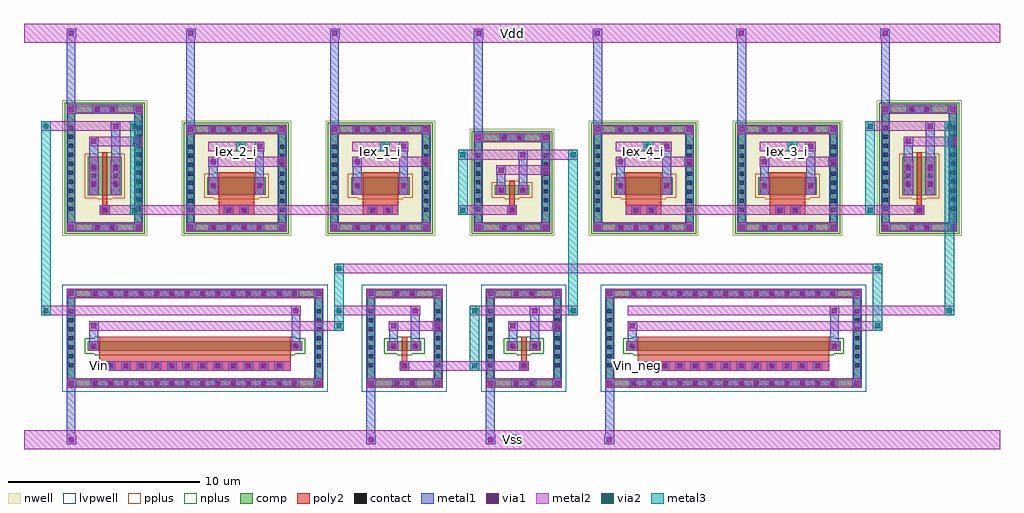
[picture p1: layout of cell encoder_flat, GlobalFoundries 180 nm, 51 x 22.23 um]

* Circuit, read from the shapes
.subckt encoder_flat Iex_1_i Iex_2_i Iex_3_i Iex_4_i Vdd Vin Vin_neg Vss
XM1 n1 Vin n2 Vss nfet_03v3 w=0.5u l=10u
XM2 n2 n3 Vss Vss nfet_03v3 w=0.5u l=0.28u
XM3 n3 n3 Vss Vss nfet_03v3 w=0.5u l=0.28u
XM4 n4 Vin_neg n2 Vss nfet_03v3 w=0.5u l=10u
XM5 n1 n1 Vdd Vdd pfet_03v3 w=2u l=0.28u
XM6 Iex_2_i n1 Vdd Vdd pfet_03v3 w=0.93u l=1.86u
XM7 Iex_1_i n1 Vdd Vdd pfet_03v3 w=0.93u l=1.86u
XM8 n3 n3 Vdd Vdd pfet_03v3 w=0.5u l=0.28u
XM9 Iex_4_i n4 Vdd Vdd pfet_03v3 w=0.93u l=1.86u
XM10 Iex_3_i n4 Vdd Vdd pfet_03v3 w=0.93u l=1.86u
XM11 n4 n4 Vdd Vdd pfet_03v3 w=2u l=0.28u
.ends

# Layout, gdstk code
import gdstk
lib = gdstk.Library(unit=1e-6, precision=1e-09)
def R(c, l, rs):  # rectangles x0, y0, x1, y1
    for r in rs: c.add(gdstk.rectangle(r[:2], r[2:], *l))
def A(c, l, x, y, w, h, nx, ny, dx, dy):  # array of equal rectangles
    R(c, l, [(x+i*dx, y+j*dy, x+i*dx+w, y+j*dy+h) for i in range(nx) for j in range(ny)])
nwell = (21, 0)
comp = (22, 0)
poly2 = (30, 0)
pplus = (31, 0)
nplus = (32, 0)
contact = (33, 0)
metal1 = (34, 0)
via1 = (35, 0)
metal2 = (36, 0)
via2 = (38, 0)
metal3 = (42, 0)
lvpwell = (204, 0)

encoder_flat = lib.new_cell('encoder_flat')
R(encoder_flat, nwell, [(0,18.345,4.44,25.435), (6.24,18.345,11.96,24.375), (13.76,18.345,19.48,24.375), (21.28,18.345,25.72,23.945), (27.52,18.345,33.24,24.375), (35.04,18.345,40.76,24.375), (42.56,18.345,47,25.435)])
A(encoder_flat, comp, 0.28, 18.625, 3.88, 0.36, 3, 1, 21.28, 0)
R(encoder_flat, comp, [(0.28,10.48,13.58,10.84), (15.94,10.48,19.82,10.84), (22.18,10.48,26.06,10.84), (28.42,10.48,41.72,10.84), (0.28,10.84,0.64,15.16), (13.22,10.84,13.58,15.16), (15.94,10.84,16.3,15.16), (19.46,10.84,19.82,15.16), (22.18,10.84,22.54,15.16), (25.7,10.84,26.06,15.16), (28.42,10.84,28.78,15.16), (41.36,10.84,41.72,15.16), (1.33,12.345,12.53,12.845), (16.99,12.345,18.77,12.845), (23.23,12.345,25.01,12.845), (29.47,12.345,40.67,12.845), (0.28,15.16,13.58,15.52), (15.94,15.16,19.82,15.52), (22.18,15.16,26.06,15.52), (28.42,15.16,41.72,15.52), (6.52,18.625,11.68,18.985), (14.04,18.625,19.2,18.985), (27.8,18.625,32.96,18.985), (35.32,18.625,40.48,18.985), (0.28,18.985,0.64,24.795), (3.8,18.985,4.16,24.795), (6.52,18.985,6.88,23.735), (11.32,18.985,11.68,23.735), (14.04,18.985,14.4,23.735), (18.84,18.985,19.2,23.735), (21.56,18.985,21.92,23.305), (25.08,18.985,25.44,23.305), (27.8,18.985,28.16,23.735), (32.6,18.985,32.96,23.735), (35.32,18.985,35.68,23.735), (40.12,18.985,40.48,23.735), (42.84,18.985,43.2,24.795), (46.36,18.985,46.72,24.795), (1.33,20.485,3.11,22.485), (43.89,20.485,45.67,22.485), (22.61,20.49,24.39,20.99), (7.57,20.495,10.63,21.425), (15.09,20.495,18.15,21.425), (28.85,20.495,31.91,21.425), (36.37,20.495,39.43,21.425), (21.56,23.305,25.44,23.665), (6.52,23.735,11.68,24.095), (14.04,23.735,19.2,24.095), (27.8,23.735,32.96,24.095), (35.32,23.735,40.48,24.095), (0.28,24.795,4.16,25.155), (42.84,24.795,46.72,25.155)])
R(encoder_flat, poly2, [(1.93,11.305,11.93,13.085), (17.63,11.305,18.13,11.805), (23.87,11.305,24.37,11.805), (30.07,11.305,40.07,13.085), (17.74,11.805,18.02,13.085), (23.98,11.805,24.26,13.085), (1.97,19.445,2.47,19.945), (44.53,19.445,45.03,19.945), (8.17,19.45,10.03,21.67), (15.69,19.45,17.55,21.67), (23.25,19.45,23.75,19.95), (29.45,19.45,31.31,21.67), (36.97,19.45,38.83,21.67), (2.08,19.945,2.36,22.725), (44.64,19.945,44.92,22.725), (23.36,19.95,23.64,21.23)])
R(encoder_flat, pplus, [(1.52,10.45,12.34,10.46), (17.27,10.45,18.49,10.46), (23.51,10.45,24.73,10.46), (29.66,10.45,40.48,10.46), (0.26,10.46,13.6,10.86), (15.92,10.46,19.84,10.86), (22.16,10.46,26.08,10.86), (28.4,10.46,41.74,10.86), (0.26,10.86,0.66,11.29), (1.52,10.86,12.34,10.87), (13.2,10.86,13.6,11.29), (15.92,10.86,16.32,11.29), (17.27,10.86,18.49,10.87), (19.44,10.86,19.84,11.29), (22.16,10.86,22.56,11.29), (23.51,10.86,24.73,10.87), (25.68,10.86,26.08,11.29), (28.4,10.86,28.8,11.29), (29.66,10.86,40.48,10.87), (41.34,10.86,41.74,11.29), (0.25,11.29,0.67,14.71), (13.19,11.29,13.61,14.71), (15.91,11.29,16.33,14.71), (19.43,11.29,19.85,14.71), (22.15,11.29,22.57,14.71), (25.67,11.29,26.09,14.71), (28.39,11.29,28.81,14.71), (41.33,11.29,41.75,14.71), (0.26,14.71,0.66,15.14), (13.2,14.71,13.6,15.14), (15.92,14.71,16.32,15.14), (19.44,14.71,19.84,15.14), (22.16,14.71,22.56,15.14), (25.68,14.71,26.08,15.14), (28.4,14.71,28.8,15.14), (41.34,14.71,41.74,15.14), (1.52,15.13,12.34,15.14), (17.27,15.13,18.49,15.14), (23.51,15.13,24.73,15.14), (29.66,15.13,40.48,15.14), (0.26,15.14,13.6,15.54), (15.92,15.14,19.84,15.54), (22.16,15.14,26.08,15.54), (28.4,15.14,41.74,15.54), (1.52,15.54,12.34,15.55), (17.27,15.54,18.49,15.55), (23.51,15.54,24.73,15.55), (29.66,15.54,40.48,15.55), (1.85,20.255,2.59,20.325), (44.41,20.255,45.15,20.325), (23.13,20.26,23.87,20.33), (7.94,20.265,10.26,20.335), (15.46,20.265,17.78,20.335), (29.22,20.265,31.54,20.335), (36.74,20.265,39.06,20.335), (1.17,20.325,3.27,22.645), (43.73,20.325,45.83,22.645), (22.45,20.33,24.55,21.15), (7.41,20.335,10.79,21.585), (14.93,20.335,18.31,21.585), (28.69,20.335,32.07,21.585), (36.21,20.335,39.59,21.585), (23.13,21.15,23.87,21.22), (7.94,21.585,10.26,21.655), (15.46,21.585,17.78,21.655), (29.22,21.585,31.54,21.655), (36.74,21.585,39.06,21.655), (1.85,22.645,2.59,22.715), (44.41,22.645,45.15,22.715)])
A(encoder_flat, nplus, 0.12, 18.465, 4.2, 0.54, 3, 1, 21.28, 0)
A(encoder_flat, nplus, 1.61, 19.005, 1.22, 0.01, 3, 1, 21.28, 0)
R(encoder_flat, nplus, [(1.7,12.115,12.16,12.185), (17.51,12.115,18.25,12.185), (23.75,12.115,24.49,12.185), (29.84,12.115,40.3,12.185), (1.17,12.185,12.69,13.005), (16.83,12.185,18.93,13.005), (23.07,12.185,25.17,13.005), (29.31,12.185,40.83,13.005), (1.7,13.005,12.16,13.075), (17.51,13.005,18.25,13.075), (23.75,13.005,24.49,13.075), (29.84,13.005,40.3,13.075), (6.36,18.465,11.84,19.005), (13.88,18.465,19.36,19.005), (27.64,18.465,33.12,19.005), (35.16,18.465,40.64,19.005), (0.12,19.005,0.66,19.43), (3.78,19.005,4.32,19.43), (6.36,19.005,6.91,23.715), (7.69,19.005,10.51,19.015), (11.29,19.005,11.84,23.715), (13.88,19.005,14.43,23.715), (15.21,19.005,18.03,19.015), (18.81,19.005,19.36,23.715), (21.4,19.005,21.94,19.435), (25.06,19.005,25.6,19.435), (27.64,19.005,28.19,23.715), (28.97,19.005,31.79,19.015), (32.57,19.005,33.12,23.715), (35.16,19.005,35.71,23.715), (36.49,19.005,39.31,19.015), (40.09,19.005,40.64,23.715), (42.68,19.005,43.22,19.43), (46.34,19.005,46.88,19.43), (0.12,19.43,0.67,24.35), (3.77,19.43,4.32,24.35), (42.68,19.43,43.23,24.35), (46.33,19.43,46.88,24.35), (21.4,19.435,21.95,22.855), (25.05,19.435,25.6,22.855), (21.4,22.855,21.94,23.285), (25.06,22.855,25.6,23.285), (22.89,23.275,24.11,23.285), (21.4,23.285,25.6,23.825), (7.69,23.705,10.51,23.715), (15.21,23.705,18.03,23.715), (28.97,23.705,31.79,23.715), (36.49,23.705,39.31,23.715), (6.36,23.715,11.84,24.255), (13.88,23.715,19.36,24.255), (27.64,23.715,33.12,24.255), (35.16,23.715,40.64,24.255), (0.12,24.35,0.66,24.775), (3.78,24.35,4.32,24.775), (42.68,24.35,43.22,24.775), (46.34,24.35,46.88,24.775), (1.61,24.765,2.83,24.775), (44.17,24.765,45.39,24.775), (0.12,24.775,4.32,25.315), (42.68,24.775,46.88,25.315)])
A(encoder_flat, contact, 1.62, 10.55, 0.22, 0.22, 14, 2, 0.8, 4.68)
A(encoder_flat, contact, 29.76, 10.55, 0.22, 0.22, 14, 2, 0.8, 4.68)
A(encoder_flat, contact, 2.42, 11.445, 0.22, 0.22, 12, 1, 0.8, 0)
A(encoder_flat, contact, 30.56, 11.445, 0.22, 0.22, 12, 1, 0.8, 0)
A(encoder_flat, contact, 0.35, 11.48, 0.22, 0.22, 1, 7, 0, 0.47)
A(encoder_flat, contact, 13.29, 11.48, 0.22, 0.22, 1, 7, 0, 0.47)
A(encoder_flat, contact, 16.01, 11.48, 0.22, 0.22, 1, 7, 0, 0.47)
A(encoder_flat, contact, 19.53, 11.48, 0.22, 0.22, 1, 7, 0, 0.47)
A(encoder_flat, contact, 22.25, 11.48, 0.22, 0.22, 1, 7, 0, 0.47)
A(encoder_flat, contact, 25.77, 11.48, 0.22, 0.22, 1, 7, 0, 0.47)
A(encoder_flat, contact, 28.49, 11.48, 0.22, 0.22, 1, 7, 0, 0.47)
A(encoder_flat, contact, 41.43, 11.48, 0.22, 0.22, 1, 7, 0, 0.47)
A(encoder_flat, contact, 7.79, 18.695, 0.22, 0.22, 4, 2, 0.8, 5.11)
A(encoder_flat, contact, 15.31, 18.695, 0.22, 0.22, 4, 2, 0.8, 5.11)
A(encoder_flat, contact, 29.07, 18.695, 0.22, 0.22, 4, 2, 0.8, 5.11)
A(encoder_flat, contact, 36.59, 18.695, 0.22, 0.22, 4, 2, 0.8, 5.11)
A(encoder_flat, contact, 16.91, 19.59, 0.22, 0.22, 3, 1, 6.48, 0)
A(encoder_flat, contact, 6.59, 19.605, 0.22, 0.22, 1, 8, 0, 0.47)
A(encoder_flat, contact, 11.39, 19.605, 0.22, 0.22, 1, 8, 0, 0.47)
A(encoder_flat, contact, 14.11, 19.605, 0.22, 0.22, 1, 8, 0, 0.47)
A(encoder_flat, contact, 18.91, 19.605, 0.22, 0.22, 1, 8, 0, 0.47)
A(encoder_flat, contact, 27.87, 19.605, 0.22, 0.22, 1, 8, 0, 0.47)
A(encoder_flat, contact, 32.67, 19.605, 0.22, 0.22, 1, 8, 0, 0.47)
A(encoder_flat, contact, 35.39, 19.605, 0.22, 0.22, 1, 8, 0, 0.47)
A(encoder_flat, contact, 40.19, 19.605, 0.22, 0.22, 1, 8, 0, 0.47)
A(encoder_flat, contact, 21.63, 19.625, 0.22, 0.22, 1, 7, 0, 0.47)
A(encoder_flat, contact, 25.15, 19.625, 0.22, 0.22, 1, 7, 0, 0.47)
A(encoder_flat, contact, 0.35, 19.665, 0.22, 0.22, 1, 10, 0, 0.47)
A(encoder_flat, contact, 3.87, 19.665, 0.22, 0.22, 1, 10, 0, 0.47)
A(encoder_flat, contact, 42.91, 19.665, 0.22, 0.22, 1, 10, 0, 0.47)
A(encoder_flat, contact, 46.43, 19.665, 0.22, 0.22, 1, 10, 0, 0.47)
A(encoder_flat, contact, 1.54, 20.905, 0.22, 0.22, 1, 3, 0, 0.47)
A(encoder_flat, contact, 2.68, 20.905, 0.22, 0.22, 1, 3, 0, 0.47)
A(encoder_flat, contact, 44.1, 20.905, 0.22, 0.22, 1, 3, 0, 0.47)
A(encoder_flat, contact, 45.24, 20.905, 0.22, 0.22, 1, 3, 0, 0.47)
R(encoder_flat, contact, [(17.37,10.55,17.59,10.77), (18.17,10.55,18.39,10.77), (23.61,10.55,23.83,10.77), (24.41,10.55,24.63,10.77), (17.77,11.445,17.99,11.665), (24.01,11.445,24.23,11.665), (1.54,12.485,1.76,12.705), (12.1,12.485,12.32,12.705), (17.2,12.485,17.42,12.705), (18.34,12.485,18.56,12.705), (23.44,12.485,23.66,12.705), (24.58,12.485,24.8,12.705), (29.68,12.485,29.9,12.705), (40.24,12.485,40.46,12.705), (17.37,15.23,17.59,15.45), (18.17,15.23,18.39,15.45), (23.61,15.23,23.83,15.45), (24.41,15.23,24.63,15.45), (1.71,18.695,1.93,18.915), (2.51,18.695,2.73,18.915), (22.99,18.695,23.21,18.915), (23.79,18.695,24.01,18.915), (44.27,18.695,44.49,18.915), (45.07,18.695,45.29,18.915), (2.11,19.585,2.33,19.805), (44.67,19.585,44.89,19.805), (8.59,19.59,8.81,19.81), (9.39,19.59,9.61,19.81), (16.11,19.59,16.33,19.81), (30.67,19.59,30.89,19.81), (37.39,19.59,37.61,19.81), (38.19,19.59,38.41,19.81), (22.82,20.63,23.04,20.85), (23.96,20.63,24.18,20.85), (7.78,20.85,8,21.07), (10.2,20.85,10.42,21.07), (15.3,20.85,15.52,21.07), (17.72,20.85,17.94,21.07), (29.06,20.85,29.28,21.07), (31.48,20.85,31.7,21.07), (36.58,20.85,36.8,21.07), (39,20.85,39.22,21.07), (22.99,23.375,23.21,23.595), (23.79,23.375,24.01,23.595), (1.71,24.865,1.93,25.085), (2.51,24.865,2.73,25.085), (44.27,24.865,44.49,25.085), (45.07,24.865,45.29,25.085)])
A(encoder_flat, metal1, 15.89, 7.95, 0.46, 2.46, 3, 1, 6.24, 0)
A(encoder_flat, metal1, 15.89, 10.91, 0.46, 4.18, 3, 1, 6.24, 0)
A(encoder_flat, metal1, 2.28, 11.305, 0.5, 0.5, 12, 1, 0.8, 0)
A(encoder_flat, metal1, 30.42, 11.305, 0.5, 0.5, 12, 1, 0.8, 0)
A(encoder_flat, metal1, 11.98, 12.845, 0.46, 1.35, 3, 1, 6.24, 0)
A(encoder_flat, metal1, 17.08, 12.845, 0.46, 0.55, 3, 1, 6.24, 0)
A(encoder_flat, metal1, 11.96, 14.195, 0.5, 0.5, 3, 1, 6.24, 0)
A(encoder_flat, metal1, 1.57, 18.555, 1.3, 0.5, 3, 1, 21.28, 0)
A(encoder_flat, metal1, 16.77, 19.45, 0.5, 0.5, 3, 1, 6.48, 0)
A(encoder_flat, metal1, 6.47, 28.685, 0.5, 0.5, 3, 1, 7.52, 0)
A(encoder_flat, metal1, 27.71, 28.685, 0.5, 0.5, 3, 1, 7.52, 0)
R(encoder_flat, metal1, [(0.23,7.45,0.73,7.95), (15.89,7.45,16.39,7.95), (22.13,7.45,22.63,7.95), (28.33,7.45,28.83,7.95), (0.23,7.95,0.69,10.41), (0.23,10.41,0.73,10.91), (1.48,10.41,12.38,10.91), (13.13,10.41,13.63,10.91), (15.89,10.41,16.39,10.91), (17.23,10.41,18.53,10.91), (19.37,10.41,19.87,10.91), (22.13,10.41,22.63,10.91), (23.47,10.41,24.77,10.91), (25.61,10.41,26.11,10.91), (28.37,10.41,28.87,10.91), (29.62,10.41,40.52,10.91), (41.27,10.41,41.77,10.91), (0.23,10.91,0.69,15.09), (13.17,10.91,13.63,15.09), (19.41,10.91,19.87,13.395), (25.65,10.91,26.11,13.395), (41.31,10.91,41.77,15.09), (17.63,11.305,18.13,11.805), (23.87,11.305,24.37,11.805), (1.4,12.345,1.9,12.845), (11.96,12.345,12.46,12.845), (17.06,12.345,17.56,12.845), (18.2,12.345,18.7,12.845), (23.3,12.345,23.8,12.845), (24.44,12.345,24.94,12.845), (29.54,12.345,30.04,12.845), (40.1,12.345,40.6,12.845), (1.42,12.845,1.88,13.395), (40.12,12.845,40.58,14.195), (1.4,13.395,1.9,13.895), (17.06,13.395,17.56,13.895), (19.37,13.395,19.87,13.895), (23.3,13.395,23.8,13.895), (25.61,13.395,26.11,13.895), (29.54,13.395,30.04,13.895), (19.41,13.895,19.87,15.09), (25.65,13.895,26.11,15.09), (40.1,14.195,40.6,14.695), (0.23,15.09,0.73,15.59), (1.48,15.09,12.38,15.59), (13.13,15.09,13.63,15.59), (15.89,15.09,16.39,15.59), (17.23,15.09,18.53,15.59), (19.37,15.09,19.87,15.59), (22.13,15.09,22.63,15.59), (23.47,15.09,24.77,15.59), (25.61,15.09,26.11,15.59), (28.37,15.09,28.87,15.59), (29.62,15.09,40.52,15.59), (41.27,15.09,41.77,15.59), (0.23,18.555,0.73,19.055), (3.71,18.555,4.21,19.055), (6.47,18.555,6.97,19.055), (7.65,18.555,10.55,19.055), (11.23,18.555,11.73,19.055), (13.99,18.555,14.49,19.055), (15.17,18.555,18.07,19.055), (18.75,18.555,19.25,19.055), (21.51,18.555,22.01,19.055), (24.99,18.555,25.49,19.055), (27.75,18.555,28.25,19.055), (28.93,18.555,31.83,19.055), (32.51,18.555,33.01,19.055), (35.27,18.555,35.77,19.055), (36.45,18.555,39.35,19.055), (40.03,18.555,40.53,19.055), (42.79,18.555,43.29,19.055), (46.27,18.555,46.77,19.055), (0.23,19.055,0.69,24.725), (3.75,19.055,4.21,23.035), (6.47,19.055,6.93,23.665), (11.27,19.055,11.73,21.975), (13.99,19.055,14.45,23.665), (18.79,19.055,19.25,21.975), (21.51,19.055,21.97,23.235), (25.03,19.055,25.49,21.54), (27.75,19.055,28.21,23.665), (32.55,19.055,33.01,21.975), (35.27,19.055,35.73,23.665), (40.07,19.055,40.53,21.975), (42.79,19.055,43.25,24.725), (46.31,19.055,46.77,23.035), (1.97,19.445,2.47,19.945), (44.53,19.445,45.03,19.945), (8.45,19.45,8.95,19.95), (9.25,19.45,9.75,19.95), (15.97,19.45,16.47,19.95), (30.53,19.45,31.03,19.95), (37.25,19.45,37.75,19.95), (38.05,19.45,38.55,19.95), (1.42,20.485,1.88,20.835), (2.56,20.485,3.02,20.835), (43.98,20.485,44.44,20.835), (45.12,20.485,45.58,20.835), (22.68,20.49,23.18,20.99), (23.82,20.49,24.32,20.99), (7.66,20.495,8.12,20.71), (10.08,20.495,10.54,20.71), (15.18,20.495,15.64,20.71), (17.6,20.495,18.06,20.71), (28.94,20.495,29.4,20.71), (31.36,20.495,31.82,20.71), (36.46,20.495,36.92,20.71), (38.88,20.495,39.34,20.71), (7.64,20.71,8.14,21.21), (10.06,20.71,10.56,21.21), (15.16,20.71,15.66,21.21), (17.58,20.71,18.08,21.21), (28.92,20.71,29.42,21.21), (31.34,20.71,31.84,21.21), (36.44,20.71,36.94,21.21), (38.86,20.71,39.36,21.21), (1.4,20.835,1.9,22.135), (2.54,20.835,3.04,22.135), (43.96,20.835,44.46,22.135), (45.1,20.835,45.6,22.135), (22.7,20.99,23.16,21.54), (23.84,20.99,24.3,22.34), (7.66,21.21,8.12,21.975), (10.08,21.21,10.54,22.775), (15.18,21.21,15.64,21.975), (17.6,21.21,18.06,22.775), (28.94,21.21,29.4,21.975), (31.36,21.21,31.82,22.775), (36.46,21.21,36.92,21.975), (38.88,21.21,39.34,22.775), (22.68,21.54,23.18,22.04), (24.99,21.54,25.49,22.04), (7.64,21.975,8.14,22.475), (11.23,21.975,11.73,22.475), (15.16,21.975,15.66,22.475), (18.75,21.975,19.25,22.475), (28.92,21.975,29.42,22.475), (32.51,21.975,33.01,22.475), (36.44,21.975,36.94,22.475), (40.03,21.975,40.53,22.475), (25.03,22.04,25.49,23.235), (1.42,22.135,1.88,23.035), (2.56,22.135,3.02,23.835), (43.98,22.135,44.44,23.035), (45.12,22.135,45.58,23.835), (23.82,22.34,24.32,22.84), (11.27,22.475,11.73,23.665), (18.79,22.475,19.25,23.665), (32.55,22.475,33.01,23.665), (40.07,22.475,40.53,23.665), (10.06,22.775,10.56,23.275), (17.58,22.775,18.08,23.275), (31.34,22.775,31.84,23.275), (38.86,22.775,39.36,23.275), (1.4,23.035,1.9,23.535), (3.71,23.035,4.21,23.535), (43.96,23.035,44.46,23.535), (46.27,23.035,46.77,23.535), (21.51,23.235,22.01,23.735), (22.85,23.235,24.15,23.735), (24.99,23.235,25.49,23.735), (3.75,23.535,4.21,24.725), (46.31,23.535,46.77,24.725), (6.47,23.665,6.97,24.165), (7.65,23.665,10.55,24.165), (11.23,23.665,11.73,24.165), (13.99,23.665,14.49,24.165), (15.17,23.665,18.07,24.165), (18.75,23.665,19.25,24.165), (27.75,23.665,28.25,24.165), (28.93,23.665,31.83,24.165), (32.51,23.665,33.01,24.165), (35.27,23.665,35.77,24.165), (36.45,23.665,39.35,24.165), (40.03,23.665,40.53,24.165), (21.51,23.735,21.97,28.685), (2.54,23.835,3.04,24.335), (45.1,23.835,45.6,24.335), (6.47,24.165,6.93,28.685), (13.99,24.165,14.45,28.685), (27.75,24.165,28.21,28.685), (35.27,24.165,35.73,28.685), (0.23,24.725,0.73,25.225), (1.57,24.725,2.87,25.225), (3.71,24.725,4.21,25.225), (42.79,24.725,43.29,25.225), (44.13,24.725,45.43,25.225), (46.27,24.725,46.77,25.225), (0.23,25.225,0.69,28.685), (42.79,25.225,43.25,28.685), (0.23,28.685,0.73,29.185)])
A(encoder_flat, via1, 1.6, 10.53, 0.26, 0.26, 14, 2, 0.8, 4.68)
A(encoder_flat, via1, 29.74, 10.53, 0.26, 0.26, 14, 2, 0.8, 4.68)
A(encoder_flat, via1, 2.4, 11.425, 0.26, 0.26, 12, 1, 0.8, 0)
A(encoder_flat, via1, 30.54, 11.425, 0.26, 0.26, 12, 1, 0.8, 0)
A(encoder_flat, via1, 12.08, 14.315, 0.26, 0.26, 3, 1, 6.24, 0)
A(encoder_flat, via1, 7.77, 18.675, 0.26, 0.26, 4, 2, 0.8, 5.11)
A(encoder_flat, via1, 15.29, 18.675, 0.26, 0.26, 4, 2, 0.8, 5.11)
A(encoder_flat, via1, 29.05, 18.675, 0.26, 0.26, 4, 2, 0.8, 5.11)
A(encoder_flat, via1, 36.57, 18.675, 0.26, 0.26, 4, 2, 0.8, 5.11)
A(encoder_flat, via1, 16.89, 19.57, 0.26, 0.26, 3, 1, 6.48, 0)
A(encoder_flat, via1, 6.59, 28.805, 0.26, 0.26, 3, 1, 7.52, 0)
A(encoder_flat, via1, 27.83, 28.805, 0.26, 0.26, 3, 1, 7.52, 0)
R(encoder_flat, via1, [(0.35,7.57,0.61,7.83), (16.01,7.57,16.27,7.83), (22.25,7.57,22.51,7.83), (28.45,7.57,28.71,7.83), (0.35,10.53,0.61,10.79), (13.25,10.53,13.51,10.79), (16.01,10.53,16.27,10.79), (17.35,10.53,17.61,10.79), (18.15,10.53,18.41,10.79), (19.49,10.53,19.75,10.79), (22.25,10.53,22.51,10.79), (23.59,10.53,23.85,10.79), (24.39,10.53,24.65,10.79), (25.73,10.53,25.99,10.79), (28.49,10.53,28.75,10.79), (41.39,10.53,41.65,10.79), (17.75,11.425,18.01,11.685), (23.99,11.425,24.25,11.685), (1.52,12.465,1.78,12.725), (12.08,12.465,12.34,12.725), (17.18,12.465,17.44,12.725), (18.32,12.465,18.58,12.725), (23.42,12.465,23.68,12.725), (24.56,12.465,24.82,12.725), (29.66,12.465,29.92,12.725), (40.22,12.465,40.48,12.725), (1.52,13.515,1.78,13.775), (17.18,13.515,17.44,13.775), (19.49,13.515,19.75,13.775), (23.42,13.515,23.68,13.775), (25.73,13.515,25.99,13.775), (29.66,13.515,29.92,13.775), (40.22,14.315,40.48,14.575), (0.35,15.21,0.61,15.47), (13.25,15.21,13.51,15.47), (16.01,15.21,16.27,15.47), (17.35,15.21,17.61,15.47), (18.15,15.21,18.41,15.47), (19.49,15.21,19.75,15.47), (22.25,15.21,22.51,15.47), (23.59,15.21,23.85,15.47), (24.39,15.21,24.65,15.47), (25.73,15.21,25.99,15.47), (28.49,15.21,28.75,15.47), (41.39,15.21,41.65,15.47), (0.35,18.675,0.61,18.935), (1.69,18.675,1.95,18.935), (2.49,18.675,2.75,18.935), (3.83,18.675,4.09,18.935), (6.59,18.675,6.85,18.935), (11.35,18.675,11.61,18.935), (14.11,18.675,14.37,18.935), (18.87,18.675,19.13,18.935), (21.63,18.675,21.89,18.935), (22.97,18.675,23.23,18.935), (23.77,18.675,24.03,18.935), (25.11,18.675,25.37,18.935), (27.87,18.675,28.13,18.935), (32.63,18.675,32.89,18.935), (35.39,18.675,35.65,18.935), (40.15,18.675,40.41,18.935), (42.91,18.675,43.17,18.935), (44.25,18.675,44.51,18.935), (45.05,18.675,45.31,18.935), (46.39,18.675,46.65,18.935), (2.09,19.565,2.35,19.825), (44.65,19.565,44.91,19.825), (8.57,19.57,8.83,19.83), (9.37,19.57,9.63,19.83), (16.09,19.57,16.35,19.83), (30.65,19.57,30.91,19.83), (37.37,19.57,37.63,19.83), (38.17,19.57,38.43,19.83), (22.8,20.61,23.06,20.87), (23.94,20.61,24.2,20.87), (7.76,20.83,8.02,21.09), (10.18,20.83,10.44,21.09), (15.28,20.83,15.54,21.09), (17.7,20.83,17.96,21.09), (29.04,20.83,29.3,21.09), (31.46,20.83,31.72,21.09), (36.56,20.83,36.82,21.09), (38.98,20.83,39.24,21.09), (1.52,20.955,1.78,21.215), (2.66,20.955,2.92,21.215), (44.08,20.955,44.34,21.215), (45.22,20.955,45.48,21.215), (22.8,21.66,23.06,21.92), (25.11,21.66,25.37,21.92), (1.52,21.755,1.78,22.015), (2.66,21.755,2.92,22.015), (44.08,21.755,44.34,22.015), (45.22,21.755,45.48,22.015), (7.76,22.095,8.02,22.355), (11.35,22.095,11.61,22.355), (15.28,22.095,15.54,22.355), (18.87,22.095,19.13,22.355), (29.04,22.095,29.3,22.355), (32.63,22.095,32.89,22.355), (36.56,22.095,36.82,22.355), (40.15,22.095,40.41,22.355), (23.94,22.46,24.2,22.72), (10.18,22.895,10.44,23.155), (17.7,22.895,17.96,23.155), (31.46,22.895,31.72,23.155), (38.98,22.895,39.24,23.155), (1.52,23.155,1.78,23.415), (3.83,23.155,4.09,23.415), (44.08,23.155,44.34,23.415), (46.39,23.155,46.65,23.415), (21.63,23.355,21.89,23.615), (22.97,23.355,23.23,23.615), (23.77,23.355,24.03,23.615), (25.11,23.355,25.37,23.615), (6.59,23.785,6.85,24.045), (11.35,23.785,11.61,24.045), (14.11,23.785,14.37,24.045), (18.87,23.785,19.13,24.045), (27.87,23.785,28.13,24.045), (32.63,23.785,32.89,24.045), (35.39,23.785,35.65,24.045), (40.15,23.785,40.41,24.045), (2.66,23.955,2.92,24.215), (45.22,23.955,45.48,24.215), (0.35,24.845,0.61,25.105), (1.69,24.845,1.95,25.105), (2.49,24.845,2.75,25.105), (3.83,24.845,4.09,25.105), (42.91,24.845,43.17,25.105), (44.25,24.845,44.51,25.105), (45.05,24.845,45.31,25.105), (46.39,24.845,46.65,25.105), (0.35,28.805,0.61,29.065)])
A(encoder_flat, metal2, 0.23, 18.555, 3.98, 0.5, 3, 1, 21.28, 0)
R(encoder_flat, metal2, [(-2,7.2,49,8.2), (0.23,10.41,13.63,10.91), (15.89,10.41,19.87,10.91), (22.13,10.41,26.11,10.91), (28.37,10.41,41.77,10.91), (1.93,11.305,11.93,11.805), (17.63,11.305,24.37,11.805), (30.07,11.305,40.07,11.805), (1.4,12.345,1.9,12.845), (11.96,12.345,12.46,12.845), (17.06,12.345,17.56,12.845), (18.2,12.345,18.7,12.845), (23.3,12.345,23.8,12.845), (24.44,12.345,24.94,12.845), (29.54,12.345,30.04,12.845), (40.1,12.345,40.6,12.845), (1.4,13.395,14.71,13.895), (17.06,13.395,19.87,13.895), (23.3,13.395,26.11,13.895), (29.54,13.395,42.85,13.895), (-1.1,14.195,12.46,14.695), (14.21,14.195,18.7,14.695), (21.3,14.195,26.94,14.695), (29.54,14.195,46.6,14.695), (0.23,15.09,13.63,15.59), (15.89,15.09,19.87,15.59), (22.13,15.09,26.11,15.59), (28.37,15.09,41.77,15.59), (14.21,16.395,42.85,16.895), (6.47,18.555,11.73,19.055), (13.99,18.555,19.25,19.055), (27.75,18.555,33.01,19.055), (35.27,18.555,40.53,19.055), (1.97,19.445,8.17,19.45), (41.96,19.445,45.03,19.45), (1.97,19.45,17.55,19.945), (20.68,19.45,23.75,19.95), (29.45,19.45,45.03,19.945), (8.17,19.945,17.55,19.95), (29.45,19.945,44.53,19.95), (1.4,20.485,1.9,22.485), (2.54,20.485,3.04,22.485), (43.96,20.485,44.46,22.485), (45.1,20.485,45.6,22.485), (22.68,20.49,23.18,20.99), (23.82,20.49,24.32,20.99), (7.64,20.495,8.14,21.425), (10.06,20.495,10.56,21.425), (15.16,20.495,15.66,21.425), (17.58,20.495,18.08,21.425), (28.92,20.495,29.42,21.425), (31.34,20.495,31.84,21.425), (36.44,20.495,36.94,21.425), (38.86,20.495,39.36,21.425), (22.68,21.54,25.49,22.04), (7.64,21.975,11.73,22.475), (15.16,21.975,19.25,22.475), (28.92,21.975,33.01,22.475), (36.44,21.975,40.53,22.475), (20.68,22.34,26.94,22.84), (7.64,22.775,10.56,23.275), (15.16,22.775,18.08,23.275), (28.92,22.775,31.84,23.275), (36.44,22.775,39.36,23.275), (1.4,23.035,4.21,23.535), (43.96,23.035,46.77,23.535), (21.51,23.235,25.49,23.735), (6.47,23.665,11.73,24.165), (13.99,23.665,19.25,24.165), (27.75,23.665,33.01,24.165), (35.27,23.665,40.53,24.165), (-1.1,23.835,4.04,24.335), (41.96,23.835,46.6,24.335), (0.23,24.725,4.21,25.225), (42.79,24.725,46.77,25.225), (-2,28.435,49,29.435)])
R(encoder_flat, via2, [(23.37,7.57,23.63,7.83), (2.05,11.425,2.31,11.685), (21.42,11.425,21.68,11.685), (30.19,11.425,30.45,11.685), (14.33,13.515,14.59,13.775), (42.47,13.515,42.73,13.775), (-0.98,14.315,-0.72,14.575), (14.33,14.315,14.59,14.575), (21.42,14.315,21.68,14.575), (26.56,14.315,26.82,14.575), (46.22,14.315,46.48,14.575), (14.33,16.515,14.59,16.775), (42.47,16.515,42.73,16.775), (3.66,19.565,3.92,19.825), (42.08,19.565,42.34,19.825), (20.8,19.57,21.06,19.83), (20.8,22.46,21.06,22.72), (26.56,22.46,26.82,22.72), (9.22,22.895,9.48,23.155), (16.74,22.895,17,23.155), (30.5,22.895,30.76,23.155), (38.02,22.895,38.28,23.155), (-0.98,23.955,-0.72,24.215), (3.66,23.955,3.92,24.215), (42.08,23.955,42.34,24.215), (46.22,23.955,46.48,24.215), (23.37,28.805,23.63,29.065)])
R(encoder_flat, metal3, [(23.25,7.45,23.75,7.95), (1.93,11.305,2.43,11.805), (21.3,11.305,21.8,14.695), (30.07,11.305,30.57,11.805), (14.21,13.395,14.71,16.895), (42.35,13.395,42.85,16.895), (-1.1,14.195,-0.6,24.335), (26.44,14.195,26.94,22.84), (46.1,14.195,46.6,24.335), (3.54,19.445,4.04,24.335), (41.96,19.445,42.46,24.335), (20.68,19.45,21.18,22.84), (9.1,22.775,9.6,23.275), (16.62,22.775,17.12,23.275), (30.38,22.775,30.88,23.275), (37.9,22.775,38.4,23.275), (23.25,28.685,23.75,29.185)])
R(encoder_flat, lvpwell, [(0,10.2,13.86,15.8), (15.66,10.2,20.1,15.8), (21.9,10.2,26.34,15.8), (28.14,10.2,42,15.8)])
encoder_flat.add(gdstk.Label('Vdd', (23.5,28.935), layer=42, texttype=10))
encoder_flat.add(gdstk.Label('Vss', (23.5,7.7), layer=42, texttype=10))
encoder_flat.add(gdstk.Label('Vin', (1.93,11.555), layer=42, texttype=10))
encoder_flat.add(gdstk.Label('Vin_neg', (30.07,11.555), layer=42, texttype=10))
encoder_flat.add(gdstk.Label('Iex_1_i', (16.62,22.775), layer=42, texttype=10))
encoder_flat.add(gdstk.Label('Iex_2_i', (9.1,22.775), layer=42, texttype=10))
encoder_flat.add(gdstk.Label('Iex_3_i', (37.9,22.775), layer=42, texttype=10))
encoder_flat.add(gdstk.Label('Iex_4_i', (30.38,22.775), layer=42, texttype=10))

lib.write_gds('encoder_flat.gds')
